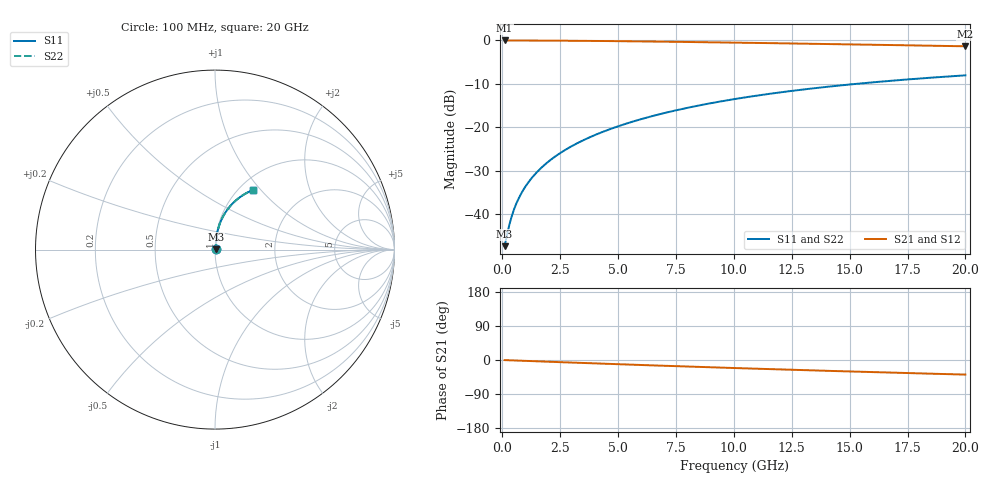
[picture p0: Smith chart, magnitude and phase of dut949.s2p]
! Touchstone file exported from HFSS 2024.1.0
!  File:  C:/UserFiles/LocalFiles/RDL_TSV_Batchsim/temp_RDL_top_949_1779937937.aedt
!  Generated:  11:15:12 AM May 28, 2026
!  Design:  RDL_top
!  Project:  temp_RDL_top_949_1779937937
!  Setup:  Setup1
!  Solution:  Sweep
! Variables:
!  dtsv = 10.80580581um
!  hbump = 3um
!  htsv = 92.13um
!  ldown = 100um
!  lrdl = 481.67um
!  p = 40
!  p1 = 57.4um
!  rhole = 1um
!  t = 450um
!  tdown = 3.915915916um
!  trdl = 2.36um
!  wdown = 15.38538539um
!  wrdl = 20.97um
# GHz S MA R 50.000000
! Terminal data exported
! Port[1] = Box2_T1
! Port[2] = Box2_T2
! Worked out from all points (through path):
!   200 points, 100 MHz to 20 GHz, reference 50 ohm
!   highest |S21| = -0.03 dB at 100 MHz (marker M1); lowest = -1.4 dB at 20 GHz (marker M2)
!   group delay of S21, straight-line fit = 5.32 ps
!   lowest |S11| = -47.3 dB at 100 MHz (marker M3), VSWR 1.01, Z = 50.4 + j0.218 ohm
!   |S11| at or under -10 dB: start of sweep to 15.3 GHz
!   |S22| runs from -47.3 to -8.1 dB; largest |S21 - S12| = 4.2e-15
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0.1  0.00431 30.1  0.9963 -0.2  0.9963 -0.2  0.00431 30.1
! Gamma 0 0 0 0
! Port Impedance 50 0 50 0
0.3  0.007507 58.3  0.996 -0.7  0.996 -0.7  0.007507 58.3
0.4  0.009377 64.2  0.9958 -0.9  0.9958 -0.9  0.009377 64.2
0.5  0.01128 68.0  0.9956 -1.2  0.9956 -1.2  0.01128 68.0
0.6  0.0132 70.7  0.9955 -1.4  0.9955 -1.4  0.0132 70.7
0.8  0.01703 74.3  0.9951 -1.9  0.9951 -1.9  0.01703 74.3
1.1  0.02283 77.5  0.9945 -2.5  0.9945 -2.5  0.02283 77.5
1.3  0.02672 78.9  0.994 -3.0  0.994 -3.0  0.02672 78.9
1.6  0.03261 80.4  0.9933 -3.7  0.9933 -3.7  0.03261 80.4
2.1  0.04255 81.8  0.9919 -4.8  0.9919 -4.8  0.04255 81.8
2.7  0.05467 82.6  0.9898 -6.1  0.9898 -6.1  0.05467 82.6
3.5  0.07112 82.8  0.9863 -7.9  0.9863 -7.9  0.07113 82.8
4.2  0.08578 82.6  0.9827 -9.4  0.9827 -9.4  0.08578 82.6
5  0.1028 82.0  0.9781 -11.1  0.9781 -11.1  0.1028 82.0
5.9  0.1221 81.1  0.9723 -13.0  0.9723 -13.0  0.1222 81.1
6.8  0.1417 79.9  0.966 -14.9  0.966 -14.9  0.1417 79.9
8.4  0.1764 77.4  0.9541 -18.1  0.9541 -18.1  0.1764 77.4
10.1  0.2128 74.5  0.9404 -21.3  0.9404 -21.3  0.2128 74.5
11.7  0.2461 71.7  0.9271 -24.3  0.9271 -24.3  0.2461 71.7
13.4  0.2801 68.6  0.9124 -27.4  0.9124 -27.4  0.2802 68.6
16.7  0.3414 62.8  0.8832 -33.1  0.8832 -33.1  0.3414 62.8
20  0.3957 57.3  0.8538 -38.5  0.8538 -38.5  0.3958 57.3
